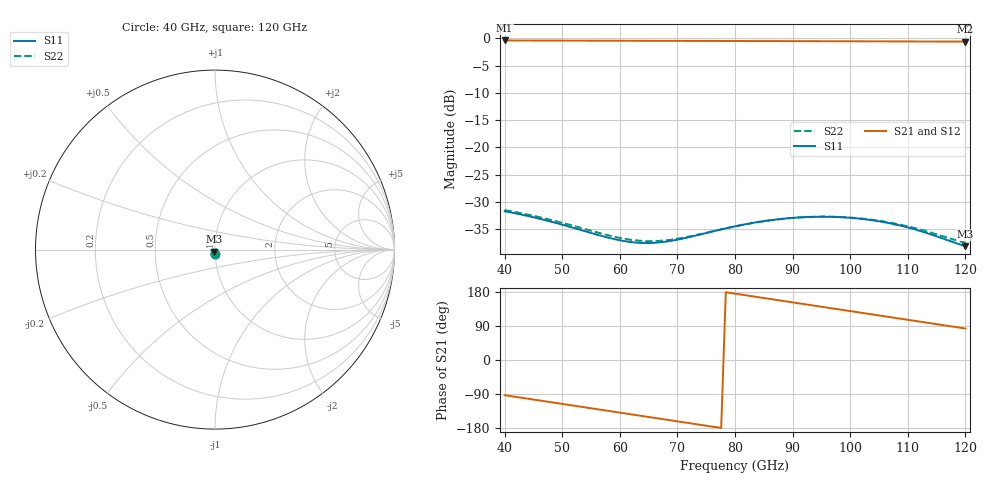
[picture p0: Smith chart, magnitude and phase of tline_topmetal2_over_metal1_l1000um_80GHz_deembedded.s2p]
! Created with skrf 2.2.0 (http://scikit-rf.org).
# GHz S DB R 50.0
! Port[1] = P1
! Port[2] = P2
!freq dBS11 angS11 dBS21 angS21 dBS12 angS12 dBS22 angS22
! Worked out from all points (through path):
!   101 points, 40 GHz to 120 GHz, reference 50 ohm
!   highest |S21| = -0.39 dB at 40 GHz (marker M1); lowest = -0.6 dB at 120 GHz (marker M2)
!   group delay of S21, straight-line fit = 6.39 ps
!   lowest |S11| = -38.1 dB at 120 GHz (marker M3), VSWR 1.03, Z = 49.6 - j1.16 ohm
!   |S11| at or under -10 dB: start of sweep to end of sweep
!   |S22| runs from -37.5 to -31.5 dB; largest |S21 - S12| = 1.1e-14
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40  -31.71 -94.8  -0.39 -92.8  -0.39 -92.8  -31.51 -94.8
43.2  -32.38 -100.5  -0.40 -100.2  -0.40 -100.2  -32.14 -100.5
46.4  -33.16 -105.3  -0.41 -107.6  -0.41 -107.6  -32.88 -105.4
49.6  -34.05 -108.7  -0.42 -114.9  -0.42 -114.9  -33.72 -108.9
53.6  -35.26 -110.5  -0.43 -124.1  -0.43 -124.1  -34.86 -111.1
57.6  -36.44 -108.8  -0.44 -133.3  -0.44 -133.3  -36.00 -110.1
61.6  -37.30 -103.4  -0.45 -142.5  -0.45 -142.5  -36.88 -105.5
64  -37.52 -98.9  -0.46 -148.1  -0.46 -148.1  -37.15 -101.5
67.2  -37.38 -92.8  -0.46 -155.4  -0.46 -155.4  -37.11 -95.8
70.4  -36.83 -88.0  -0.47 -162.8  -0.47 -162.8  -36.67 -91.0
73.6  -36.06 -85.4  -0.48 -170.2  -0.48 -170.2  -35.99 -88.0
76.8  -35.23 -84.8  -0.49 -177.5  -0.49 -177.5  -35.22 -87.1
80  -34.47 -86.0  -0.49 175.1  -0.49 175.1  -34.49 -87.8
83.2  -33.82 -88.4  -0.50 167.7  -0.50 167.7  -33.85 -89.8
86.4  -33.31 -91.7  -0.51 160.4  -0.51 160.4  -33.34 -92.7
89.6  -32.95 -95.5  -0.52 153.0  -0.52 153.0  -32.97 -96.3
93.6  -32.73 -100.8  -0.53 143.8  -0.53 143.8  -32.73 -101.2
100.8  -32.98 -110.3  -0.55 127.2  -0.55 127.2  -32.92 -110.1
107.2  -33.98 -117.2  -0.57 112.5  -0.57 112.5  -33.84 -116.4
113.6  -35.80 -119.4  -0.59 97.8  -0.59 97.8  -35.49 -118.1
116.8  -36.97 -116.9  -0.60 90.5  -0.60 90.5  -36.51 -115.6
120  -38.11 -110.3  -0.60 83.1  -0.60 83.1  -37.48 -109.6
